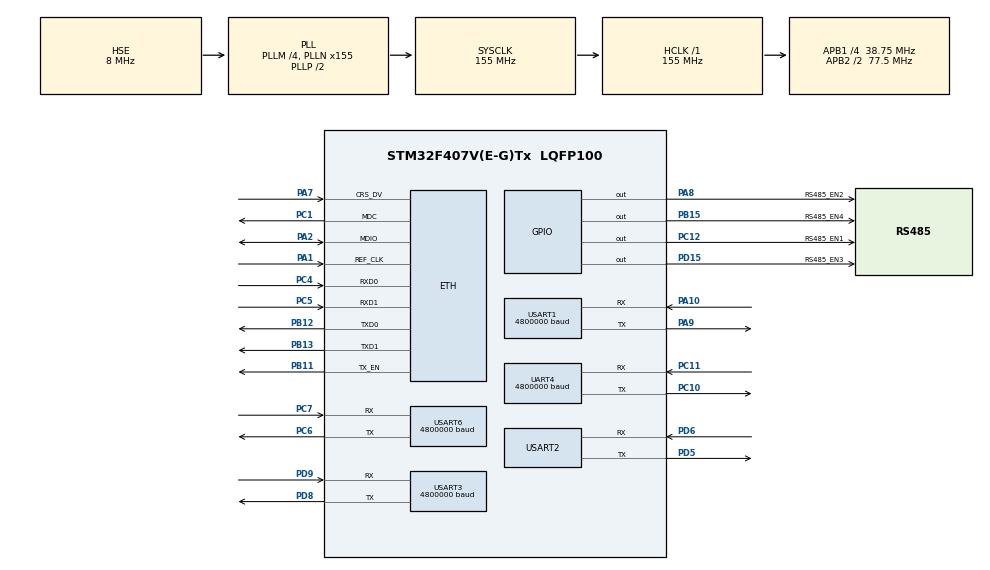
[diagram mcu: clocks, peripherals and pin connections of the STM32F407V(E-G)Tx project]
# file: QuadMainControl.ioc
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Dma.Request0=USART1_RX
Dma.Request1=USART1_TX
Dma.Request2=UART4_RX
Dma.Request3=UART4_TX
Dma.Request4=USART3_RX
Dma.Request5=USART3_TX
Dma.Request6=USART6_RX
Dma.Request7=USART6_TX
Dma.UART4_RX.2.Direction=DMA_PERIPH_TO_MEMORY
Dma.UART4_RX.2.FIFOMode=DMA_FIFOMODE_DISABLE
Dma.UART4_RX.2.Instance=DMA1_Stream2
Dma.UART4_RX.2.MemDataAlignment=DMA_MDATAALIGN_BYTE
Dma.UART4_RX.2.MemInc=DMA_MINC_ENABLE
Dma.UART4_RX.2.Mode=DMA_NORMAL
Dma.UART4_RX.2.PeriphDataAlignment=DMA_PDATAALIGN_BYTE
Dma.UART4_RX.2.PeriphInc=DMA_PINC_DISABLE
Dma.UART4_RX.2.Priority=DMA_PRIORITY_MEDIUM
Dma.UART4_TX.3.Direction=DMA_MEMORY_TO_PERIPH
Dma.UART4_TX.3.FIFOMode=DMA_FIFOMODE_DISABLE
Dma.UART4_TX.3.Instance=DMA1_Stream4
Dma.UART4_TX.3.MemDataAlignment=DMA_MDATAALIGN_BYTE
Dma.UART4_TX.3.MemInc=DMA_MINC_ENABLE
Dma.UART4_TX.3.Mode=DMA_NORMAL
Dma.UART4_TX.3.PeriphDataAlignment=DMA_PDATAALIGN_BYTE
Dma.UART4_TX.3.PeriphInc=DMA_PINC_DISABLE
Dma.UART4_TX.3.Priority=DMA_PRIORITY_MEDIUM
Dma.USART1_RX.0.Direction=DMA_PERIPH_TO_MEMORY
Dma.USART1_RX.0.FIFOMode=DMA_FIFOMODE_DISABLE
Dma.USART1_RX.0.Instance=DMA2_Stream2
Dma.USART1_RX.0.MemDataAlignment=DMA_MDATAALIGN_BYTE
Dma.USART1_RX.0.MemInc=DMA_MINC_ENABLE
Dma.USART1_RX.0.Mode=DMA_NORMAL
Dma.USART1_RX.0.PeriphDataAlignment=DMA_PDATAALIGN_BYTE
Dma.USART1_RX.0.PeriphInc=DMA_PINC_DISABLE
Dma.USART1_RX.0.Priority=DMA_PRIORITY_MEDIUM
Dma.USART1_TX.1.Direction=DMA_MEMORY_TO_PERIPH
Dma.USART1_TX.1.FIFOMode=DMA_FIFOMODE_DISABLE
Dma.USART1_TX.1.Instance=DMA2_Stream7
Dma.USART1_TX.1.MemDataAlignment=DMA_MDATAALIGN_BYTE
Dma.USART1_TX.1.MemInc=DMA_MINC_ENABLE
Dma.USART1_TX.1.Mode=DMA_NORMAL
Dma.USART1_TX.1.PeriphDataAlignment=DMA_PDATAALIGN_BYTE
Dma.USART1_TX.1.PeriphInc=DMA_PINC_DISABLE
Dma.USART1_TX.1.Priority=DMA_PRIORITY_MEDIUM
Dma.USART3_RX.4.Direction=DMA_PERIPH_TO_MEMORY
Dma.USART3_RX.4.FIFOMode=DMA_FIFOMODE_DISABLE
Dma.USART3_RX.4.Instance=DMA1_Stream1
Dma.USART3_RX.4.MemDataAlignment=DMA_MDATAALIGN_BYTE
Dma.USART3_RX.4.MemInc=DMA_MINC_ENABLE
Dma.USART3_RX.4.Mode=DMA_NORMAL
Dma.USART3_RX.4.PeriphDataAlignment=DMA_PDATAALIGN_BYTE
Dma.USART3_RX.4.PeriphInc=DMA_PINC_DISABLE
Dma.USART3_RX.4.Priority=DMA_PRIORITY_MEDIUM
Dma.USART3_TX.5.Direction=DMA_MEMORY_TO_PERIPH
Dma.USART3_TX.5.FIFOMode=DMA_FIFOMODE_DISABLE
Dma.USART3_TX.5.Instance=DMA1_Stream3
Dma.USART3_TX.5.MemDataAlignment=DMA_MDATAALIGN_BYTE
Dma.USART3_TX.5.MemInc=DMA_MINC_ENABLE
Dma.USART3_TX.5.Mode=DMA_NORMAL
Dma.USART3_TX.5.PeriphDataAlignment=DMA_PDATAALIGN_BYTE
Dma.USART3_TX.5.PeriphInc=DMA_PINC_DISABLE
Dma.USART3_TX.5.Priority=DMA_PRIORITY_MEDIUM
Dma.USART6_RX.6.Direction=DMA_PERIPH_TO_MEMORY
Dma.USART6_RX.6.FIFOMode=DMA_FIFOMODE_DISABLE
Dma.USART6_RX.6.Instance=DMA2_Stream1
Dma.USART6_RX.6.MemDataAlignment=DMA_MDATAALIGN_BYTE
Dma.USART6_RX.6.MemInc=DMA_MINC_ENABLE
Dma.USART6_RX.6.Mode=DMA_NORMAL
Dma.USART6_RX.6.PeriphDataAlignment=DMA_PDATAALIGN_BYTE
Dma.USART6_RX.6.PeriphInc=DMA_PINC_DISABLE
Dma.USART6_RX.6.Priority=DMA_PRIORITY_MEDIUM
Dma.USART6_TX.7.Direction=DMA_MEMORY_TO_PERIPH
Dma.USART6_TX.7.FIFOMode=DMA_FIFOMODE_DISABLE
Dma.USART6_TX.7.Instance=DMA2_Stream6
Dma.USART6_TX.7.MemDataAlignment=DMA_MDATAALIGN_BYTE
Dma.USART6_TX.7.MemInc=DMA_MINC_ENABLE
Dma.USART6_TX.7.Mode=DMA_NORMAL
Dma.USART6_TX.7.PeriphDataAlignment=DMA_PDATAALIGN_BYTE
Dma.USART6_TX.7.PeriphInc=DMA_PINC_DISABLE
Dma.USART6_TX.7.Priority=DMA_PRIORITY_MEDIUM
ETH.MediaInterface=HAL_ETH_RMII_MODE
LWIP.GATEWAY_ADDRESS=192.168.010.001
LWIP.IP_ADDRESS=192.168.010.003
LWIP.LWIP_DHCP=0
LWIP.NETMASK_ADDRESS=255.255.255.000
LWIP.TCP_QUEUE_OOSEQ=0
LWIP.Version=v2.1.2_Cube
Mcu.Family=STM32F4
Mcu.Name=STM32F407V(E-G)Tx
Mcu.Package=LQFP100
NVIC.DMA1_Stream1_IRQn=true\:0\:0\:false\:false\:true\:false\:true\:true
NVIC.DMA1_Stream2_IRQn=true\:0\:0\:false\:false\:true\:false\:true\:true
NVIC.DMA1_Stream3_IRQn=true\:0\:0\:false\:false\:true\:false\:true\:true
NVIC.DMA1_Stream4_IRQn=true\:0\:0\:false\:false\:true\:false\:true\:true
NVIC.DMA2_Stream1_IRQn=true\:0\:0\:false\:false\:true\:false\:true\:true
NVIC.DMA2_Stream2_IRQn=true\:0\:0\:false\:false\:true\:false\:true\:true
NVIC.DMA2_Stream6_IRQn=true\:0\:0\:false\:false\:true\:false\:true\:true
NVIC.DMA2_Stream7_IRQn=true\:0\:0\:false\:false\:true\:false\:true\:true
NVIC.ETH_IRQn=true\:0\:0\:false\:false\:true\:true\:true\:true
NVIC.PriorityGroup=NVIC_PRIORITYGROUP_4
NVIC.TIM1_UP_TIM10_IRQn=true\:0\:0\:false\:false\:true\:true\:true\:true
NVIC.UART4_IRQn=true\:0\:0\:false\:false\:true\:true\:true\:true
NVIC.USART1_IRQn=true\:0\:0\:false\:false\:true\:true\:true\:true
NVIC.USART2_IRQn=true\:0\:0\:false\:false\:true\:true\:true\:true
NVIC.USART3_IRQn=true\:0\:0\:false\:false\:true\:true\:true\:true
NVIC.USART6_IRQn=true\:0\:0\:false\:false\:true\:true\:true\:true
PA0-WKUP.Mode=SYS_WakeUp0
PA0-WKUP.Signal=SYS_WKUP
PA1.Mode=RMII
PA1.Signal=ETH_REF_CLK
PA10.GPIO_PuPd=GPIO_PULLUP
PA10.Mode=Asynchronous
PA10.Signal=USART1_RX
PA13.Mode=Serial_Wire
PA13.Signal=SYS_JTMS-SWDIO
PA14.Mode=Serial_Wire
PA14.Signal=SYS_JTCK-SWCLK
PA2.Mode=RMII
PA2.Signal=ETH_MDIO
PA7.Mode=RMII
PA7.Signal=ETH_CRS_DV
PA8.GPIO_Label=RS485_EN2
PA8.GPIO_PuPd=GPIO_PULLUP
PA8.GPIO_Speed=GPIO_SPEED_FREQ_HIGH
PA8.PinState=GPIO_PIN_RESET
PA8.Signal=GPIO_Output
PA9.GPIO_PuPd=GPIO_PULLUP
PA9.Mode=Asynchronous
PA9.Signal=USART1_TX
PB11.Mode=RMII
PB11.Signal=ETH_TX_EN
PB12.Mode=RMII
PB12.Signal=ETH_TXD0
PB13.Mode=RMII
PB13.Signal=ETH_TXD1
PB15.GPIO_Label=RS485_EN4
PB15.GPIO_PuPd=GPIO_PULLUP
PB15.GPIO_Speed=GPIO_SPEED_FREQ_HIGH
PB15.Signal=GPIO_Output
PC1.Mode=RMII
PC1.Signal=ETH_MDC
PC10.GPIO_PuPd=GPIO_PULLUP
PC10.Mode=Asynchronous
PC10.Signal=UART4_TX
PC11.GPIO_PuPd=GPIO_PULLUP
PC11.Mode=Asynchronous
PC11.Signal=UART4_RX
PC12.GPIO_Label=RS485_EN1
PC12.GPIO_PuPd=GPIO_PULLUP
PC12.GPIO_Speed=GPIO_SPEED_FREQ_HIGH
PC12.Signal=GPIO_Output
PC4.Mode=RMII
PC4.Signal=ETH_RXD0
PC5.Mode=RMII
PC5.Signal=ETH_RXD1
PC6.GPIO_PuPd=GPIO_PULLUP
PC6.Mode=Asynchronous
PC6.Signal=USART6_TX
PC7.GPIO_PuPd=GPIO_PULLUP
PC7.Mode=Asynchronous
PC7.Signal=USART6_RX
PD15.GPIO_Label=RS485_EN3
PD15.GPIO_PuPd=GPIO_PULLUP
PD15.GPIO_Speed=GPIO_SPEED_FREQ_HIGH
PD15.Signal=GPIO_Output
PD5.Mode=Asynchronous
PD5.Signal=USART2_TX
PD6.Mode=Asynchronous
PD6.Signal=USART2_RX
PD8.GPIO_PuPd=GPIO_PULLUP
PD8.Mode=Asynchronous
PD8.Signal=USART3_TX
PD9.GPIO_PuPd=GPIO_PULLUP
PD9.Mode=Asynchronous
PD9.Signal=USART3_RX
PH0-OSC_IN.Mode=HSE-External-Oscillator
PH0-OSC_IN.Signal=RCC_OSC_IN
PH1-OSC_OUT.Mode=HSE-External-Oscillator
PH1-OSC_OUT.Signal=RCC_OSC_OUT
ProjectManager.HeapSize=0x200
ProjectManager.StackSize=0x400
ProjectManager.TargetToolchain=MDK-ARM V5.32
RCC.48MHZClocksFreq_Value=44285714.28571428
RCC.AHBFreq_Value=155000000
RCC.APB1CLKDivider=RCC_HCLK_DIV4
RCC.APB1Freq_Value=38750000
RCC.APB1TimFreq_Value=77500000
RCC.APB2CLKDivider=RCC_HCLK_DIV2
RCC.APB2Freq_Value=77500000
RCC.APB2TimFreq_Value=155000000
RCC.CortexFreq_Value=155000000
RCC.HCLKFreq_Value=155000000
RCC.HSE_VALUE=8000000
RCC.HSI_VALUE=16000000
RCC.LSE_VALUE=32768
RCC.PLLM=4
RCC.PLLN=155
RCC.PLLQ=7
RCC.PLLSourceVirtual=RCC_PLLSOURCE_HSE
RCC.SYSCLKFreq_VALUE=155000000
RCC.SYSCLKSource=RCC_SYSCLKSOURCE_PLLCLK
RCC.VCOOutputFreq_Value=310000000
TIM1.Period=10000-1
TIM1.Prescaler=16800-1
UART4.BaudRate=4800000
UART4.OverSampling=UART_OVERSAMPLING_8
UART4.VirtualMode=Asynchronous
USART1.BaudRate=4800000
USART1.OverSampling=UART_OVERSAMPLING_8
USART1.VirtualMode=VM_ASYNC
USART2.VirtualMode=VM_ASYNC
USART3.BaudRate=4800000
USART3.OverSampling=UART_OVERSAMPLING_8
USART3.VirtualMode=VM_ASYNC
USART6.BaudRate=4800000
USART6.OverSampling=UART_OVERSAMPLING_8
USART6.VirtualMode=VM_ASYNC
VP_LWIP_VS_Enabled.Mode=Enabled
VP_TIM1_VS_ClockSourceINT.Mode=Internal
board=custom

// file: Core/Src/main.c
/* USER CODE BEGIN Header */
/**
  ******************************************************************************
  * @file           : main.c
  * @brief          : Main program body
  ******************************************************************************
  * @attention
  *
  * Copyright (c) 2025 STMicroelectronics.
  * All rights reserved.
  *
  * This software is licensed under terms that can be found in the LICENSE file
  * in the root directory of this software component.
  * If no LICENSE file comes with this software, it is provided AS-IS.
  *
  ******************************************************************************
  */
/* USER CODE END Header */
#include "main.h"
#include "dma.h"
#include "lwip.h"
#include "tim.h"
#include "usart.h"
#include "gpio.h"

/* USER CODE BEGIN Includes */
#include "delay.h"
#include "unitree_motor.h"
#include "robot.h"
#include "system_monitor.h"
#include "udp_comm.h"
/* USER CODE END Includes */

void SystemClock_Config(void);

int main(void)
{

  /* MCU Configuration--------------------------------------------------------*/

  /* Reset of all peripherals, Initializes the Flash interface and the Systick. */
  HAL_Init();

  /* Configure the system clock */
  SystemClock_Config();

  /* Initialize all configured peripherals */
  MX_GPIO_Init();
  MX_DMA_Init();
  MX_UART4_Init();
  MX_USART1_UART_Init();
  MX_USART3_UART_Init();
  MX_USART6_UART_Init();
  MX_TIM1_Init();
  MX_LWIP_Init();
  MX_USART2_UART_Init();
  /* USER CODE BEGIN 2 */
	delay_init(HAL_RCC_GetHCLKFreq() / 1000000);
	HAL_TIM_Base_Start_IT(&htim1);
	udp_echoserver_init();
	robot_init();

  /* USER CODE END 2 */

  /* Infinite loop */
  while (1)
  {

    /* USER CODE BEGIN 3 */
		MX_LWIP_Process();
//		// test 485
//		set_robot_mode(MODE_DAMPING);
		update_command();
		delay_us(10);
  }
  /* USER CODE END 3 */
}

void SystemClock_Config(void)
{
  RCC_OscInitTypeDef RCC_OscInitStruct = {0};
  RCC_ClkInitTypeDef RCC_ClkInitStruct = {0};

  /** Configure the main internal regulator output voltage
  */
  __HAL_RCC_PWR_CLK_ENABLE();
  __HAL_PWR_VOLTAGESCALING_CONFIG(PWR_REGULATOR_VOLTAGE_SCALE1);

  /** Initializes the RCC Oscillators according to the specified parameters
  * in the RCC_OscInitTypeDef structure.
  */
  RCC_OscInitStruct.OscillatorType = RCC_OSCILLATORTYPE_HSE;
  RCC_OscInitStruct.HSEState = RCC_HSE_ON;
  RCC_OscInitStruct.PLL.PLLState = RCC_PLL_ON;
  RCC_OscInitStruct.PLL.PLLSource = RCC_PLLSOURCE_HSE;
  RCC_OscInitStruct.PLL.PLLM = 4;
  RCC_OscInitStruct.PLL.PLLN = 155;
  RCC_OscInitStruct.PLL.PLLP = RCC_PLLP_DIV2;
  RCC_OscInitStruct.PLL.PLLQ = 7;
  if (HAL_RCC_OscConfig(&RCC_OscInitStruct) != HAL_OK)
  {
    Error_Handler();
  }

  /** Initializes the CPU, AHB and APB buses clocks
  */
  RCC_ClkInitStruct.ClockType = RCC_CLOCKTYPE_HCLK|RCC_CLOCKTYPE_SYSCLK
                              |RCC_CLOCKTYPE_PCLK1|RCC_CLOCKTYPE_PCLK2;
  RCC_ClkInitStruct.SYSCLKSource = RCC_SYSCLKSOURCE_PLLCLK;
  RCC_ClkInitStruct.AHBCLKDivider = RCC_SYSCLK_DIV1;
  RCC_ClkInitStruct.APB1CLKDivider = RCC_HCLK_DIV4;
  RCC_ClkInitStruct.APB2CLKDivider = RCC_HCLK_DIV2;

  if (HAL_RCC_ClockConfig(&RCC_ClkInitStruct, FLASH_LATENCY_5) != HAL_OK)
  {
    Error_Handler();
  }
}

/* USER CODE BEGIN 4 */
void HAL_TIM_PeriodElapsedCallback(TIM_HandleTypeDef *htim)
{
  if(htim == &htim1)
  {// 1s
    // system monitor
    for(int i=0;i<4;i++)
    {
      for(int j=0;j<3;j++)
      {
        robot.leg[i].motor[j].real_rate =  robot.leg[i].motor[j].temp_rate;
				robot.leg[i].motor[j].temp_rate = 0;
      }
			system_monitor.real_rate[i] = system_monitor.temp_rate[i];
			system_monitor.temp_rate[i] = 0;
		}
		system_monitor.real_rate[UDP_REAL] = system_monitor.temp_rate[UDP_REAL];
		system_monitor.temp_rate[UDP_REAL] = 0;
		system_monitor.real_rate[UDP_ENTER] = system_monitor.temp_rate[UDP_ENTER];
		system_monitor.temp_rate[UDP_ENTER] = 0;
  }
}
/* USER CODE END 4 */

void Error_Handler(void)
{
  __disable_irq();
  while (1)
  {
  }
}
